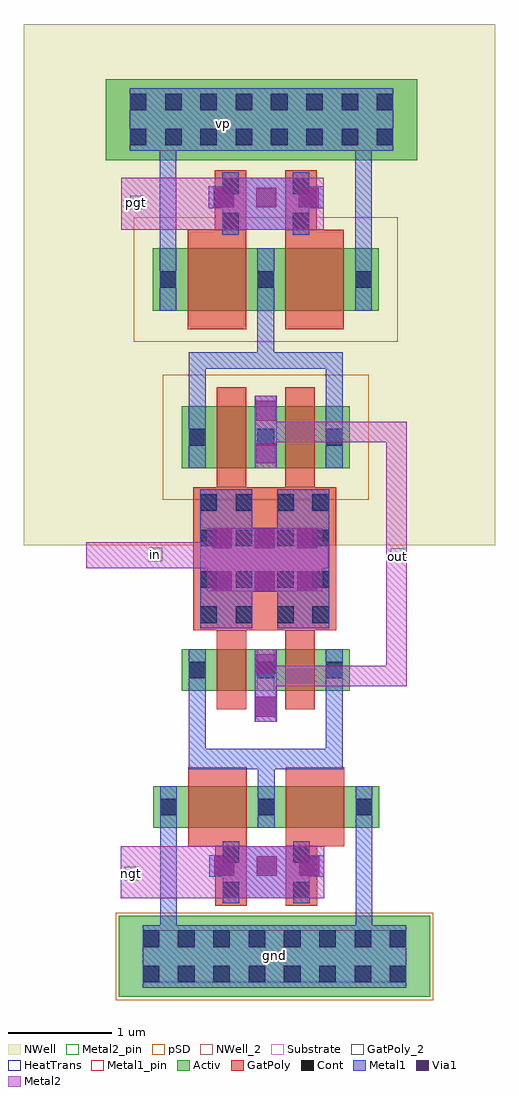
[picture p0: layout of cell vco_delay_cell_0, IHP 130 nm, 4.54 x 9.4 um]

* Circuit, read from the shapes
.subckt vco_delay_cell_0 gnd in ngt out pgt vp
XM1 n1 ngt gnd gnd sg13_lv_nmos w=0.4u l=0.56u m=2
XM2 out in n1 gnd sg13_lv_nmos w=0.4u l=0.28u m=2
XM3 n2 pgt vp vp sg13_lv_pmos w=0.6u l=0.56u m=2
XM4 out in n2 vp sg13_lv_pmos w=0.6u l=0.28u m=2
.ends

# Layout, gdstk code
from math import pi, radians
import gdstk
lib = gdstk.Library(unit=1e-6, precision=1e-09)
def R(c, l, rs):  # rectangles x0, y0, x1, y1
    for r in rs: c.add(gdstk.rectangle(r[:2], r[2:], *l))
def A(c, l, x, y, w, h, nx, ny, dx, dy):  # array of equal rectangles
    R(c, l, [(x+i*dx, y+j*dy, x+i*dx+w, y+j*dy+h) for i in range(nx) for j in range(ny)])
Activ = (1, 0)
GatPoly = (5, 0)
GatPoly_2 = (5, 2)
Cont = (6, 0)
Metal1 = (8, 0)
Metal1_pin = (8, 2)
Metal2 = (10, 0)
Metal2_pin = (10, 2)
pSD = (14, 0)
Via1 = (19, 0)
NWell = (31, 0)
NWell_2 = (31, 2)
Substrate = (40, 0)
HeatTrans = (51, 0)

pmos = lib.new_cell('pmos')
A(pmos, Activ, 0, 0, 0.3, 0.3, 3, 1, 0.66, 0)
R(pmos, Activ, [(0,0,1.62,0.6)])
R(pmos, GatPoly, [(0.34,-0.18,0.62,0.78), (0.34,-0.18,0.62,0.78), (1,-0.18,1.28,0.78)])
A(pmos, Cont, 0.07, 0.22, 0.16, 0.16, 3, 1, 0.66, 0)
R(pmos, Metal1, [(0.07,0,0.23,0.6), (0.07,0,0.23,0.6), (0.73,0,0.89,0.6), (0.73,0,0.89,0.6), (1.39,0,1.55,0.6)])
R(pmos, pSD, [(-0.18,-0.3,1.8,0.9)])
R(pmos, NWell, [(-0.31,-0.31,1.93,0.91)])
R(pmos, HeatTrans, [(0.34,-0.18,0.62,0.78), (1,-0.18,1.28,0.78)])
pmos.add(gdstk.Label('pmos', (0.48,0.3), layer=63, texttype=0))
pmos.add(gdstk.Label('pmos', (0.48,0.3), layer=51, texttype=0))
pmos.add(gdstk.Label('pmos', (1.14,0.3), layer=51, texttype=0))

pmos_3 = lib.new_cell('pmos$3')
A(pmos_3, Activ, 0, 0, 0.3, 0.3, 3, 1, 0.94, 0)
R(pmos_3, Activ, [(0,0,2.18,0.6)])
R(pmos_3, GatPoly, [(0.34,-0.18,0.9,0.78), (0.34,-0.18,0.9,0.78), (1.28,-0.18,1.84,0.78)])
A(pmos_3, Cont, 0.07, 0.22, 0.16, 0.16, 3, 1, 0.94, 0)
R(pmos_3, Metal1, [(0.07,0,0.23,0.6), (0.07,0,0.23,0.6), (1.01,0,1.17,0.6), (1.01,0,1.17,0.6), (1.95,0,2.11,0.6)])
R(pmos_3, pSD, [(-0.18,-0.3,2.36,0.9)])
R(pmos_3, NWell, [(-0.31,-0.31,2.49,0.91)])
R(pmos_3, HeatTrans, [(0.34,-0.18,0.9,0.78), (1.28,-0.18,1.84,0.78)])
pmos_3.add(gdstk.Label('pmos', (0.62,0.3), layer=63, texttype=0))
pmos_3.add(gdstk.Label('pmos', (0.62,0.3), layer=51, texttype=0))
pmos_3.add(gdstk.Label('pmos', (1.56,0.3), layer=51, texttype=0))

nmos = lib.new_cell('nmos')
A(nmos, Activ, 0, 0, 0.3, 0.3, 3, 1, 0.66, 0)
R(nmos, Activ, [(0,0,1.62,0.4)])
R(nmos, GatPoly, [(0.34,-0.18,0.62,0.58), (1,-0.18,1.28,0.58)])
R(nmos, GatPoly_2, [(0.34,-0.18,0.62,0.58)])
A(nmos, Cont, 0.07, 0.12, 0.16, 0.16, 3, 1, 0.66, 0)
A(nmos, Metal1, 0.07, 0, 0.16, 0.4, 3, 1, 0.66, 0)
R(nmos, Metal1_pin, [(0.07,0,0.23,0.4), (0.73,0,0.89,0.4)])
R(nmos, HeatTrans, [(0.34,-0.18,0.62,0.58), (1,-0.18,1.28,0.58)])
nmos.add(gdstk.Label('nmos', (0.48,0.2), layer=63, texttype=0))
nmos.add(gdstk.Label('nmos', (0.48,0.2), layer=51, texttype=0))
nmos.add(gdstk.Label('nmos', (1.14,0.2), layer=51, texttype=0))

nmos_2 = lib.new_cell('nmos$2')
A(nmos_2, Activ, 0, 0, 0.3, 0.3, 3, 1, 0.94, 0)
R(nmos_2, Activ, [(0,0,2.18,0.4)])
R(nmos_2, GatPoly, [(0.34,-0.18,0.9,0.58), (1.28,-0.18,1.84,0.58)])
R(nmos_2, GatPoly_2, [(0.34,-0.18,0.9,0.58)])
A(nmos_2, Cont, 0.07, 0.12, 0.16, 0.16, 3, 1, 0.94, 0)
A(nmos_2, Metal1, 0.07, 0, 0.16, 0.4, 3, 1, 0.94, 0)
R(nmos_2, Metal1_pin, [(0.07,0,0.23,0.4), (1.01,0,1.17,0.4)])
R(nmos_2, HeatTrans, [(0.34,-0.18,0.9,0.58), (1.28,-0.18,1.84,0.58)])
nmos_2.add(gdstk.Label('nmos', (0.62,0.2), layer=63, texttype=0))
nmos_2.add(gdstk.Label('nmos', (0.62,0.2), layer=51, texttype=0))
nmos_2.add(gdstk.Label('nmos', (1.56,0.2), layer=51, texttype=0))

ntap1 = lib.new_cell('ntap1')
R(ntap1, Activ, [(0,0,3,0.78)])
A(ntap1, Cont, 0.23, 0.14, 0.16, 0.16, 8, 2, 0.34, 0.34)
R(ntap1, Metal1, [(0.23,0.09,2.77,0.69)])
R(ntap1, Metal1_pin, [(0.23,0.09,2.77,0.69), (0.23,0.14,2.77,0.64)])
R(ntap1, NWell, [(-0.24,-0.24,3.24,1.02), (0,0,3,0.78)])
R(ntap1, NWell_2, [(0,0,3,0.78)])
ntap1.add(gdstk.Label('well', (1.5,0.01), layer=63, texttype=0))
ntap1.add(gdstk.Label('well', (1.5,0.01), layer=31, texttype=0))

ptap1 = lib.new_cell('ptap1')
R(ptap1, Activ, [(0,0,3,0.78)])
A(ptap1, Cont, 0.23, 0.14, 0.16, 0.16, 8, 2, 0.34, 0.34)
R(ptap1, Metal1, [(0.23,0.09,2.77,0.69), (0.23,0.14,2.77,0.64)])
R(ptap1, Metal1_pin, [(0.23,0.14,2.77,0.64)])
R(ptap1, pSD, [(-0.03,-0.03,3.03,0.81)])
R(ptap1, Substrate, [(0,0,3,0.78)])
ptap1.add(gdstk.Label('sub!', (1.5,0.01), layer=63, texttype=0))
ptap1.add(gdstk.Label('sub!', (1.5,0.01), layer=40, texttype=0))

via = lib.new_cell('Via')
R(via, GatPoly, [(-0.32,-0.32,0.32,0.32)])
R(via, Cont, [(-0.25,-0.25,-0.09,-0.09), (0.09,-0.25,0.25,-0.09), (-0.25,0.09,-0.09,0.25), (0.09,0.09,0.25,0.25)])
R(via, Metal1, [(-0.3,-0.25,0.3,0.25)])

via_1 = lib.new_cell('Via$1')
R(via_1, Metal1, [(-0.31,-0.555,0.31,0.555)])
R(via_1, Metal2, [(-0.305,-0.555,0.305,0.555)])
A(via_1, Via1, -0.3, -0.505, 0.19, 0.19, 1, 3, 0, 0.41)
A(via_1, Via1, 0.11, -0.505, 0.19, 0.19, 1, 3, 0, 0.41)

via_3 = lib.new_cell('Via$3')
R(via_3, Metal1, [(-0.105,-0.35,0.105,0.35)])
R(via_3, Metal2, [(-0.1,-0.35,0.1,0.35)])
R(via_3, Via1, [(-0.095,-0.3,0.095,-0.11), (-0.095,0.11,0.095,0.3)])

via_2 = lib.new_cell('Via$2')
R(via_2, GatPoly, [(-0.15,-0.32,0.15,0.32)])
R(via_2, Cont, [(-0.08,-0.25,0.08,-0.09), (-0.08,0.09,0.08,0.25)])
R(via_2, Metal1, [(-0.08,-0.3,0.08,0.3)])

via_5 = lib.new_cell('Via$5')
R(via_5, Metal1, [(-0.105,-0.555,0.105,0.555)])
R(via_5, Metal2, [(-0.1,-0.555,0.1,0.555)])
A(via_5, Via1, -0.095, -0.505, 0.19, 0.19, 1, 3, 0, 0.41)

vco_delay_cell_0 = lib.new_cell('vco_delay_cell_0')
R(vco_delay_cell_0, GatPoly, [(0.71,-0.53,0.82,0.11), (0.07,0.09,1.45,0.21), (0.71,0.21,0.82,0.85)])
R(vco_delay_cell_0, Metal1, [(1.635,-3.47,1.795,-2.42), (-0.245,-3.45,-0.085,-2.42), (0.475,-3.11,1.15,-2.61), (0.695,-2.03,0.855,-1.75), (0.03,-1.87,1.51,-1.67), (1.35,-1.735,1.51,-1.09), (0.03,-1.73,0.19,-0.99), (0.88,-0.35,1.38,0.13), (0.14,-0.34,0.64,0.13), (0.14,-0.04,0.39,0.23), (1.17,0.09,1.38,0.23), (0.03,1.63,0.19,2.04), (1.35,1.63,1.51,2.05), (0.03,1.99,1.51,2.15), (0.69,2.05,0.85,2.5), (0.69,2.38,0.85,2.55), (-0.25,3.15,-0.09,4.39), (1.63,3.15,1.79,4.265), (0.46,3.33,1.095,3.83)])
R(vco_delay_cell_0, Metal1_pin, [(0.79,-3.725,0.92,-3.595), (0.295,4.285,0.425,4.415)])
R(vco_delay_cell_0, Metal2, [(-0.625,-3.11,-0.035,-2.61), (-0.035,-3.11,1.335,-2.61), (0.83,-1.07,2.13,-0.87), (1.93,-1.07,2.13,0.57), (1.93,-0.16,2.13,1.48), (-0.96,0.07,1.37,0.32), (0.83,1.28,2.13,1.48), (-0.62,3.33,-0.03,3.83), (-0.04,3.33,1.33,3.83)])
R(vco_delay_cell_0, Metal2_pin, [(-0.59,-2.935,-0.46,-2.805), (1.975,0.13,2.105,0.26), (-0.355,0.135,-0.225,0.265), (-0.535,3.525,-0.405,3.655)])
R(vco_delay_cell_0, NWell, [(-1.56,0.29,2.98,5.31)])
vco_delay_cell_0.add(gdstk.Reference(pmos, (-0.04,1.03)))
vco_delay_cell_0.add(gdstk.Reference(pmos_3, (-0.32,2.55)))
vco_delay_cell_0.add(gdstk.Reference(nmos, (-0.04,-1.11)))
vco_delay_cell_0.add(gdstk.Reference(nmos_2, (-0.315,-2.43)))
vco_delay_cell_0.add(gdstk.Reference(ntap1, (-0.77,4)))
vco_delay_cell_0.add(gdstk.Reference(ptap1, (-0.645,-4.06)))
vco_delay_cell_0.add(gdstk.Reference(via, (0.39,0.53), rotation=pi/2))
vco_delay_cell_0.add(gdstk.Reference(via, (1.13,0.53), rotation=pi/2))
vco_delay_cell_0.add(gdstk.Reference(via, (0.39,-0.21), rotation=pi/2))
vco_delay_cell_0.add(gdstk.Reference(via, (1.13,-0.21), rotation=pi/2))
vco_delay_cell_0.add(gdstk.Reference(via_1, (0.76,0.15), rotation=pi/2))
vco_delay_cell_0.add(gdstk.Reference(via_3, (0.77,1.38)))
vco_delay_cell_0.add(gdstk.Reference(via_3, (0.77,-1.06)))
vco_delay_cell_0.add(gdstk.Reference(via_2, (1.115,-2.86)))
vco_delay_cell_0.add(gdstk.Reference(via_5, (0.78,-2.8), rotation=pi/2))
vco_delay_cell_0.add(gdstk.Reference(via_5, (0.775,3.64), rotation=pi/2))
vco_delay_cell_0.add(gdstk.Reference(via_2, (1.11,3.58)))
vco_delay_cell_0.add(gdstk.Reference(via_2, (0.43,3.58)))
vco_delay_cell_0.add(gdstk.Reference(via_2, (0.435,-2.86)))
vco_delay_cell_0.add(gdstk.Label('ngt', (-0.525,-2.87), layer=10, texttype=25))
vco_delay_cell_0.add(gdstk.Label('pgt', (-0.47,3.59), layer=10, texttype=25))
vco_delay_cell_0.add(gdstk.Label('out', (2.04,0.18), layer=10, texttype=25))
vco_delay_cell_0.add(gdstk.Label('in', (-0.29,0.2), layer=10, texttype=25))
vco_delay_cell_0.add(gdstk.Label('gnd', (0.855,-3.66), layer=8, texttype=25))
vco_delay_cell_0.add(gdstk.Label('vp', (0.36,4.35), layer=8, texttype=25))

lib.write_gds('vco_delay_cell_0.gds')
